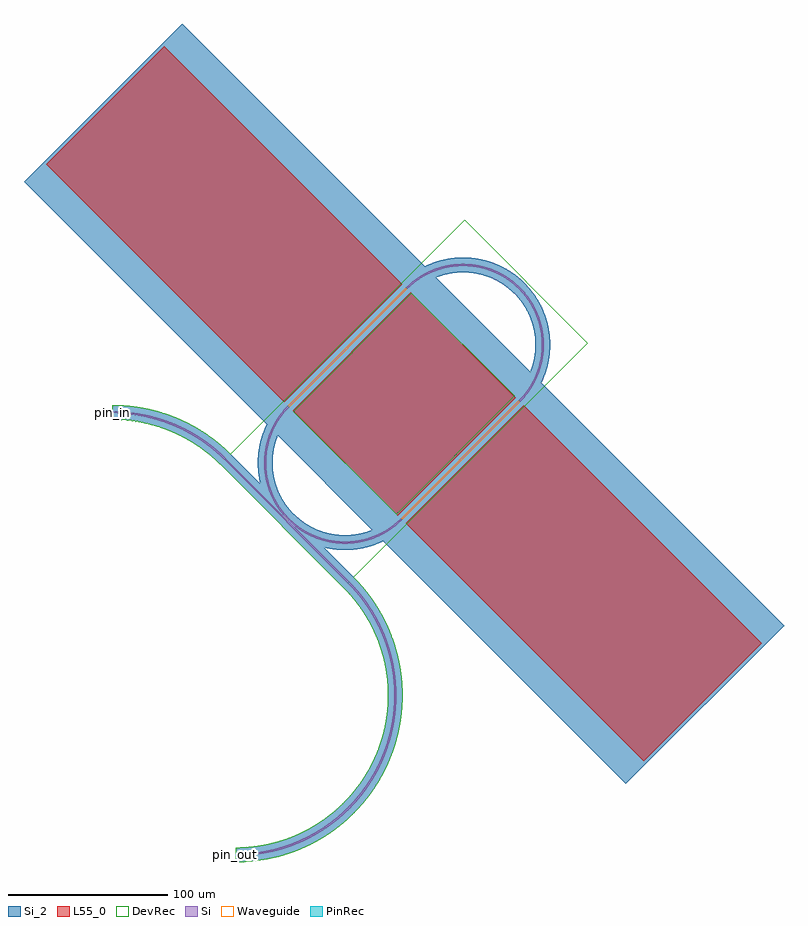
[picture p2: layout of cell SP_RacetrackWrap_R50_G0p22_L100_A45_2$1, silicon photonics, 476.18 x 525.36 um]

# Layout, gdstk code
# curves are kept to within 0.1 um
from math import pi, radians
import gdstk
lib = gdstk.Library(unit=1e-6, precision=1e-09)
def R(c, l, rs):  # rectangles x0, y0, x1, y1
    for r in rs: c.add(gdstk.rectangle(r[:2], r[2:], *l))
def P(c, l, *ps):  # polygons
    for p in ps: c.add(gdstk.Polygon(p, *l))
Si = (1, 0)
Si_2 = (1, 2)
PinRec = (1, 10)
Waveguide = (1, 99)
L55_0 = (55, 0)
DevRec = (68, 0)

bto_shetch_dc_halfring_s = lib.new_cell('BTO_ShEtch_dc_halfring_straight')
R(bto_shetch_dc_halfring_s, Si, [(-54.6,-0.6,54.6,0.6)])
P(bto_shetch_dc_halfring_s, Si, [(0,0.82),(-4.988,1.066),(-9.927,1.803),(-14.335,2.893),(-19.049,4.542),(-23.577,6.648),(-27.875,9.191),(-31.902,12.144),(-35.619,15.48),(-38.988,19.166),(-41.977,23.167),(-44.558,27.442),(-46.705,31.951),(-48.396,36.65),(-49.617,41.493),(-50.354,46.432),(-50.6,51.42),(-49.4,51.42),(-49.114,46.109),(-48.351,41.294),(-46.982,36.155),(-45.069,31.192),(-42.855,26.848),(-40.48,23.106),(-37.492,19.253),(-34.458,16.022),(-30.8,12.798),(-26.843,9.949),(-23.018,7.71),(-18.597,5.654),(-14.42,4.171),(-9.692,2.98),(-4.87,2.261),(0,2.02),(4.87,2.261),(9.692,2.98),(14.42,4.171),(18.597,5.654),(23.018,7.71),(26.843,9.949),(30.8,12.798),(34.458,16.022),(37.492,19.253),(40.48,23.106),(42.855,26.848),(45.069,31.192),(46.982,36.155),(48.351,41.294),(49.114,46.109),(49.4,51.42),(50.6,51.42),(50.354,46.432),(49.617,41.493),(48.527,37.085),(46.878,32.371),(44.772,27.843),(42.229,23.545),(39.276,19.518),(35.94,15.801),(32.254,12.432),(28.253,9.443),(23.978,6.862),(19.469,4.715),(14.77,3.024),(9.927,1.803),(4.988,1.066)])
P(bto_shetch_dc_halfring_s, Si_2, [(-54.6,-4.6),(-54.6,4.6),(-28.089,4.6),(-31.295,6.679),(-34.043,8.732),(-36.656,10.954),(-39.124,13.335),(-41.438,15.867),(-43.589,18.539),(-45.836,21.751),(-47.608,24.688),(-49.193,27.73),(-50.583,30.866),(-51.774,34.082),(-52.761,37.367),(-53.539,40.708),(-54.106,44.091),(-54.492,47.992),(-54.6,51.42),(-45.4,51.42),(-45.137,46.539),(-44.351,41.715),(-42.919,36.618),(-41.079,32.09),(-38.763,27.785),(-35.998,23.755),(-32.532,19.752),(-28.939,16.439),(-25.687,13.985),(-22.228,11.834),(-18.59,10),(-15.187,8.635),(-11.685,7.549),(-7.705,6.679),(-3.664,6.168),(0,6.02),(3.664,6.168),(7.705,6.679),(11.685,7.549),(15.187,8.635),(18.59,10),(22.228,11.834),(25.687,13.985),(28.939,16.439),(32.532,19.752),(35.998,23.755),(38.763,27.785),(41.079,32.09),(42.919,36.618),(44.351,41.715),(45.137,46.539),(45.4,51.42),(54.6,51.42),(54.492,47.992),(54.106,44.091),(53.539,40.708),(52.761,37.367),(51.774,34.082),(50.583,30.866),(49.193,27.73),(47.608,24.688),(45.836,21.751),(43.589,18.539),(41.438,15.867),(39.124,13.335),(36.656,10.954),(34.043,8.732),(31.295,6.679),(28.089,4.6),(54.6,4.6),(54.6,-4.6)])
R(bto_shetch_dc_halfring_s, DevRec, [(-54.6,-4.6,54.6,51.42)])
bto_shetch_dc_halfring_s.add(gdstk.FlexPath([(-50,51.41),(-50,51.43)], 1.2, ends="flush", simple_path=True, layer=1, datatype=10))  # PinRec
bto_shetch_dc_halfring_s.add(gdstk.FlexPath([(50,51.41),(50,51.43)], 1.2, ends="flush", simple_path=True, layer=1, datatype=10))  # PinRec
bto_shetch_dc_halfring_s.add(gdstk.FlexPath([(-54.59,0),(-54.61,0)], 1.2, ends="flush", simple_path=True, layer=1, datatype=10))  # PinRec
bto_shetch_dc_halfring_s.add(gdstk.FlexPath([(54.59,0),(54.61,0)], 1.2, ends="flush", simple_path=True, layer=1, datatype=10))  # PinRec
bto_shetch_dc_halfring_s.add(gdstk.Label('pin2', (-50,51.42), layer=1, texttype=10))
bto_shetch_dc_halfring_s.add(gdstk.Label('pin4', (50,51.42), layer=1, texttype=10))
bto_shetch_dc_halfring_s.add(gdstk.Label('pin1', (-54.6,0), layer=1, texttype=10))
bto_shetch_dc_halfring_s.add(gdstk.Label('pin3', (54.6,0), layer=1, texttype=10))

c_bto_shetch_dc_halfring_s = lib.new_cell('BTO_ShEtch_dc_halfring_straight$1')
P(c_bto_shetch_dc_halfring_s, Si, [(0,0.82),(-4.988,1.066),(-9.927,1.803),(-14.335,2.893),(-19.049,4.542),(-23.577,6.648),(-27.875,9.191),(-31.902,12.144),(-35.619,15.48),(-38.988,19.166),(-41.977,23.167),(-44.558,27.442),(-46.705,31.951),(-48.396,36.65),(-49.617,41.493),(-50.354,46.432),(-50.6,51.42),(-49.4,51.42),(-49.114,46.109),(-48.351,41.294),(-46.982,36.155),(-45.069,31.192),(-42.855,26.848),(-40.48,23.106),(-37.492,19.253),(-34.458,16.022),(-30.8,12.798),(-26.843,9.949),(-23.018,7.71),(-18.597,5.654),(-14.42,4.171),(-9.692,2.98),(-4.87,2.261),(0,2.02),(4.87,2.261),(9.692,2.98),(14.42,4.171),(18.597,5.654),(23.018,7.71),(26.843,9.949),(30.8,12.798),(34.458,16.022),(37.492,19.253),(40.48,23.106),(42.855,26.848),(45.069,31.192),(46.982,36.155),(48.351,41.294),(49.114,46.109),(49.4,51.42),(50.6,51.42),(50.354,46.432),(49.617,41.493),(48.527,37.085),(46.878,32.371),(44.772,27.843),(42.229,23.545),(39.276,19.518),(35.94,15.801),(32.254,12.432),(28.253,9.443),(23.978,6.862),(19.469,4.715),(14.77,3.024),(9.927,1.803),(4.988,1.066)])
P(c_bto_shetch_dc_halfring_s, Si_2, [(0,-3.18),(-5.382,-2.914),(-10.712,-2.119),(-15.937,-0.802),(-21.008,1.023),(-25.441,3.109),(-30.079,5.852),(-34.424,9.039),(-38.434,12.639),(-42.07,16.617),(-45.296,20.933),(-48.081,25.547),(-50.397,30.412),(-52.222,35.483),(-53.539,40.708),(-54.334,46.038),(-54.6,51.42),(-45.4,51.42),(-45.137,46.539),(-44.351,41.715),(-42.919,36.618),(-41.079,32.09),(-38.763,27.785),(-35.998,23.755),(-32.532,19.752),(-28.939,16.439),(-25.687,13.985),(-22.228,11.834),(-18.59,10),(-15.187,8.635),(-11.685,7.549),(-7.705,6.679),(-3.664,6.168),(0,6.02),(3.664,6.168),(7.705,6.679),(11.685,7.549),(15.187,8.635),(18.59,10),(22.228,11.834),(25.687,13.985),(28.939,16.439),(32.532,19.752),(35.998,23.755),(38.763,27.785),(41.079,32.09),(42.919,36.618),(44.351,41.715),(45.137,46.539),(45.4,51.42),(54.6,51.42),(54.334,46.038),(53.539,40.708),(52.222,35.483),(50.397,30.412),(48.311,25.979),(45.568,21.341),(42.381,16.996),(38.781,12.986),(34.803,9.35),(30.487,6.124),(25.873,3.339),(21.008,1.023),(15.937,-0.802),(10.712,-2.119),(5.382,-2.914)])
R(c_bto_shetch_dc_halfring_s, DevRec, [(-54.6,-4.6,54.6,51.42)])
c_bto_shetch_dc_halfring_s.add(gdstk.FlexPath([(-50,51.41),(-50,51.43)], 1.2, ends="flush", simple_path=True, layer=1, datatype=10))  # PinRec
c_bto_shetch_dc_halfring_s.add(gdstk.FlexPath([(50,51.41),(50,51.43)], 1.2, ends="flush", simple_path=True, layer=1, datatype=10))  # PinRec
c_bto_shetch_dc_halfring_s.add(gdstk.Label('pin2', (-50,51.42), layer=1, texttype=10))
c_bto_shetch_dc_halfring_s.add(gdstk.Label('pin4', (50,51.42), layer=1, texttype=10))

waveguide_1 = lib.new_cell('Waveguide$1')
R(waveguide_1, Si, [(49.4,51.42,50.6,156.04)])
R(waveguide_1, Si_2, [(45.4,51.42,54.6,156.04)])
R(waveguide_1, Waveguide, [(49.4,51.42,50.6,156.04)])
R(waveguide_1, DevRec, [(45.4,51.42,54.6,156.04)])
waveguide_1.add(gdstk.FlexPath([(50,51.43),(50,51.41)], 1.2, ends="flush", simple_path=True, layer=1, datatype=10))  # PinRec
waveguide_1.add(gdstk.FlexPath([(50,156.03),(50,156.05)], 1.2, ends="flush", simple_path=True, layer=1, datatype=10))  # PinRec
waveguide_1.add(gdstk.Label('Lumerical_INTERCONNECT_library=Design kits/EBeam', (49.76,51.42), layer=68, texttype=0))
waveguide_1.add(gdstk.Label('Component=ebeam_wg_integral_895', (50.24,51.42), layer=68, texttype=0))
waveguide_1.add(gdstk.Label('cellName=Waveguide', (50.48,51.42), layer=68, texttype=0))
waveguide_1.add(gdstk.Label('Spice_param:wg_length=0.000104620 wg_width=1.2e-06 points="[[50.0,51.42],[50.0,156.04]]" radius=0.0001', (50,51.42), layer=68, texttype=0))
waveguide_1.add(gdstk.Label('Length=104.620 (microns)', (48.56,51.42), layer=68, texttype=0))
waveguide_1.add(gdstk.Label('waveguide_type=Low-loss Bend Waveguide, w=1.2um r=100um', (49.52,51.42), layer=68, texttype=0))
waveguide_1.add(gdstk.Label('opt1', (50,51.42), layer=1, texttype=10))
waveguide_1.add(gdstk.Label('opt2', (50,156.04), layer=1, texttype=10))

waveguide = lib.new_cell('Waveguide')
R(waveguide, Si, [(-50.6,51.42,-49.4,156.04)])
R(waveguide, Si_2, [(-54.6,51.42,-45.4,156.04)])
R(waveguide, Waveguide, [(-50.6,51.42,-49.4,156.04)])
R(waveguide, DevRec, [(-54.6,51.42,-45.4,156.04)])
waveguide.add(gdstk.FlexPath([(-50,51.43),(-50,51.41)], 1.2, ends="flush", simple_path=True, layer=1, datatype=10))  # PinRec
waveguide.add(gdstk.FlexPath([(-50,156.03),(-50,156.05)], 1.2, ends="flush", simple_path=True, layer=1, datatype=10))  # PinRec
waveguide.add(gdstk.Label('Lumerical_INTERCONNECT_library=Design kits/EBeam', (-50.24,51.42), layer=68, texttype=0))
waveguide.add(gdstk.Label('Component=ebeam_wg_integral_895', (-49.76,51.42), layer=68, texttype=0))
waveguide.add(gdstk.Label('cellName=Waveguide', (-49.52,51.42), layer=68, texttype=0))
waveguide.add(gdstk.Label('Spice_param:wg_length=0.000104620 wg_width=1.2e-06 points="[[-50.0,51.42],[-50.0,156.04]]" radius=0.0001', (-50,51.42), layer=68, texttype=0))
waveguide.add(gdstk.Label('Length=104.620 (microns)', (-51.44,51.42), layer=68, texttype=0))
waveguide.add(gdstk.Label('waveguide_type=Low-loss Bend Waveguide, w=1.2um r=100um', (-50.48,51.42), layer=68, texttype=0))
waveguide.add(gdstk.Label('opt1', (-50,51.42), layer=1, texttype=10))
waveguide.add(gdstk.Label('opt2', (-50,156.04), layer=1, texttype=10))

bto_shetch_varbend_4 = lib.new_cell('BTO_ShEtch_VarBend$4')
P(bto_shetch_varbend_4, Si, [(-70.286,70.286),(-71.135,71.135),(-70.824,71.445),(-65.134,76.668),(-58.918,81.542),(-54.422,84.609),(-49.614,87.515),(-44.809,90.07),(-39.792,92.396),(-34.902,94.352),(-30.084,95.997),(-25.358,97.352),(-20.314,98.528),(-15.13,99.456),(-9.992,100.103),(-5.002,100.476),(0,100.6),(0,99.4),(-6.068,99.215),(-11.769,98.701),(-17.431,97.86),(-23.036,96.694),(-31.293,94.346),(-39.477,91.225),(-43.808,89.226),(-47.81,87.147),(-51.862,84.798),(-55.799,82.261),(-59.682,79.489),(-63.427,76.534),(-66.962,73.461)])
P(bto_shetch_varbend_4, Si_2, [(-67.458,67.458),(-73.963,73.963),(-68.624,78.943),(-62.658,83.757),(-56.893,87.775),(-50.551,91.574),(-44.537,94.645),(-38.506,97.255),(-32.323,99.481),(-26.013,101.314),(-19.869,102.696),(-13.019,103.787),(-6.568,104.394),(0,104.6),(0,95.4),(-4.91,95.274),(-9.392,94.937),(-13.936,94.377),(-18.693,93.551),(-23.241,92.526),(-27.813,91.256),(-32.316,89.76),(-36.354,88.202),(-40.619,86.321),(-44.935,84.155),(-48.849,81.945),(-52.863,79.415),(-56.88,76.589),(-60.489,73.772),(-64.144,70.617)])
P(bto_shetch_varbend_4, DevRec, [(-67.458,67.458),(-73.963,73.963),(-68.624,78.943),(-62.658,83.757),(-56.893,87.775),(-50.551,91.574),(-44.537,94.645),(-38.506,97.255),(-32.323,99.481),(-26.013,101.314),(-19.869,102.696),(-13.019,103.787),(-6.568,104.394),(0,104.6),(0,95.4),(-4.91,95.274),(-9.392,94.937),(-13.936,94.377),(-18.693,93.551),(-23.241,92.526),(-27.813,91.256),(-32.316,89.76),(-36.354,88.202),(-40.619,86.321),(-44.935,84.155),(-48.849,81.945),(-52.863,79.415),(-56.88,76.589),(-60.489,73.772),(-64.144,70.617)])
bto_shetch_varbend_4.add(gdstk.FlexPath([(-0.01,100),(0.01,100)], 1.2, ends="flush", simple_path=True, layer=1, datatype=10))  # PinRec
bto_shetch_varbend_4.add(gdstk.FlexPath([(-70.704,70.718),(-70.718,70.704)], 1.2, ends="flush", simple_path=True, layer=1, datatype=10))  # PinRec
bto_shetch_varbend_4.add(gdstk.Label('pin1', (0,100), layer=1, texttype=10))
bto_shetch_varbend_4.add(gdstk.Label('pin2', (-70.711,70.711), layer=1, texttype=10))

bto_shetch_varbend_5 = lib.new_cell('BTO_ShEtch_VarBend$5')
P(bto_shetch_varbend_5, Si, [(-0.263,-100.6),(-5.44,-100.453),(-10.516,-100.049),(-15.564,-99.389),(-20.314,-98.528),(-25.358,-97.352),(-30.084,-95.997),(-34.902,-94.352),(-39.792,-92.396),(-44.809,-90.07),(-49.614,-87.515),(-54.422,-84.609),(-58.918,-81.542),(-65.134,-76.668),(-70.824,-71.445),(-71.135,-71.135),(-70.286,-70.286),(-64.819,-75.359),(-59.195,-79.852),(-53.188,-83.973),(-46.972,-87.602),(-40.35,-90.842),(-33.344,-93.641),(-26.313,-95.854),(-19.222,-97.524),(-12.028,-98.67),(-4.769,-99.286),(2.689,-99.364),(9.872,-98.909),(17.261,-97.89),(24.468,-96.342),(31.293,-94.346),(37.959,-91.867),(44.43,-88.918),(50.897,-85.381),(57.085,-81.374),(62.622,-77.194),(67.981,-72.519),(73.227,-67.218),(78.061,-61.538),(82.163,-55.943),(85.822,-50.15),(89.034,-44.197),(91.867,-37.959),(94.346,-31.293),(96.572,-23.542),(98.163,-15.635),(99.094,-7.799),(99.4,0),(100.6,0),(100.476,-5.002),(100.103,-9.992),(99.495,-14.87),(98.633,-19.798),(97.505,-24.763),(96.179,-29.497),(94.653,-34.077),(92.909,-38.579),(90.876,-43.151),(88.701,-47.461),(86.276,-51.738),(83.695,-55.817),(80.816,-59.91),(77.793,-63.786),(74.702,-67.38),(71.011,-71.259),(67.38,-74.702),(63.786,-77.793),(59.91,-80.816),(55.817,-83.695),(51.738,-86.276),(47.229,-88.825),(42.833,-91.026),(38.417,-92.976),(33.581,-94.83),(28.993,-96.332),(24.337,-97.612),(19.282,-98.735),(14.609,-99.534),(9.467,-100.154),(5.002,-100.476)])
P(bto_shetch_varbend_5, Si_2, [(-0.274,-104.6),(-6.568,-104.394),(-13.381,-103.741),(-19.869,-102.696),(-26.013,-101.314),(-32.323,-99.481),(-38.506,-97.255),(-44.537,-94.645),(-50.551,-91.574),(-56.893,-87.775),(-62.658,-83.757),(-68.624,-78.943),(-73.963,-73.963),(-67.458,-67.458),(-62.651,-71.945),(-57.08,-76.44),(-51.329,-80.415),(-45.448,-83.879),(-39.334,-86.914),(-33.098,-89.475),(-26.696,-91.589),(-19.753,-93.333),(-12.865,-94.529),(-5.99,-95.212),(0.916,-95.396),(7.651,-95.093),(14.513,-94.29),(21.379,-92.974),(28.211,-91.134),(34.577,-88.914),(40.393,-86.427),(46.251,-83.439),(51.819,-80.1),(56.88,-76.589),(61.831,-72.651),(66.51,-68.393),(70.952,-63.773),(74.868,-59.127),(79.461,-52.794),(83.56,-46.032),(87.22,-38.651),(90.094,-31.374),(92.424,-23.644),(94.092,-15.746),(95.093,-7.651),(95.4,0),(104.6,0),(104.48,-5.019),(104.11,-10.116),(103.465,-15.371),(102.626,-20.227),(101.471,-25.394),(100.136,-30.233),(98.509,-35.174),(96.638,-40.029),(94.489,-44.867),(92.098,-49.59),(89.707,-53.795),(86.972,-58.113),(84.138,-62.145),(80.944,-66.252),(77.611,-70.127),(73.899,-74.028),(70.127,-77.611),(66.252,-80.944),(62.072,-84.192),(57.885,-87.124),(53.403,-89.941),(48.865,-92.485),(44.454,-94.684),(39.86,-96.708),(35.174,-98.509),(30.233,-100.136),(25.394,-101.471),(20.227,-102.626),(15.371,-103.465),(10.116,-104.11),(5.019,-104.48)])
P(bto_shetch_varbend_5, DevRec, [(-0.274,-104.6),(-6.568,-104.394),(-13.381,-103.741),(-19.869,-102.696),(-26.013,-101.314),(-32.323,-99.481),(-38.506,-97.255),(-44.537,-94.645),(-50.551,-91.574),(-56.893,-87.775),(-62.658,-83.757),(-68.624,-78.943),(-73.963,-73.963),(-67.458,-67.458),(-62.651,-71.945),(-57.08,-76.44),(-51.329,-80.415),(-45.448,-83.879),(-39.334,-86.914),(-33.098,-89.475),(-26.696,-91.589),(-19.753,-93.333),(-12.865,-94.529),(-5.99,-95.212),(0.916,-95.396),(7.651,-95.093),(14.513,-94.29),(21.379,-92.974),(28.211,-91.134),(34.577,-88.914),(40.393,-86.427),(46.251,-83.439),(51.819,-80.1),(56.88,-76.589),(61.831,-72.651),(66.51,-68.393),(70.952,-63.773),(74.868,-59.127),(79.461,-52.794),(83.56,-46.032),(87.22,-38.651),(90.094,-31.374),(92.424,-23.644),(94.092,-15.746),(95.093,-7.651),(95.4,0),(104.6,0),(104.48,-5.019),(104.11,-10.116),(103.465,-15.371),(102.626,-20.227),(101.471,-25.394),(100.136,-30.233),(98.509,-35.174),(96.638,-40.029),(94.489,-44.867),(92.098,-49.59),(89.707,-53.795),(86.972,-58.113),(84.138,-62.145),(80.944,-66.252),(77.611,-70.127),(73.899,-74.028),(70.127,-77.611),(66.252,-80.944),(62.072,-84.192),(57.885,-87.124),(53.403,-89.941),(48.865,-92.485),(44.454,-94.684),(39.86,-96.708),(35.174,-98.509),(30.233,-100.136),(25.394,-101.471),(20.227,-102.626),(15.371,-103.465),(10.116,-104.11),(5.019,-104.48)])
bto_shetch_varbend_5.add(gdstk.FlexPath([(100,-0.01),(100,0.01)], 1.2, ends="flush", simple_path=True, layer=1, datatype=10))  # PinRec
bto_shetch_varbend_5.add(gdstk.FlexPath([(-70.704,-70.718),(-70.718,-70.704)], 1.2, ends="flush", simple_path=True, layer=1, datatype=10))  # PinRec
bto_shetch_varbend_5.add(gdstk.Label('pin1', (100,0), layer=1, texttype=10))
bto_shetch_varbend_5.add(gdstk.Label('pin2', (-70.711,-70.711), layer=1, texttype=10))

sp_racetrackcore_r50_g0p = lib.new_cell('SP_RacetrackCore_R50_G0p22_L100_A45$1')
R(sp_racetrackcore_r50_g0p, Si_2, [(-266.61,33.629,266.61,173.83)])
R(sp_racetrackcore_r50_g0p, L55_0, [(-264.61,51.429,-53.71,156.03), (-46.31,51.429,46.91,156.03), (53.71,51.429,264.61,156.03)])
sp_racetrackcore_r50_g0p.add(gdstk.Reference(bto_shetch_dc_halfring_s, (0,0)))
sp_racetrackcore_r50_g0p.add(gdstk.Reference(c_bto_shetch_dc_halfring_s, (0,207.46), rotation=pi))
sp_racetrackcore_r50_g0p.add(gdstk.Reference(waveguide_1, (0,0)))
sp_racetrackcore_r50_g0p.add(gdstk.Reference(waveguide, (0,0)))
sp_racetrackcore_r50_g0p.add(gdstk.Reference(bto_shetch_varbend_4, (-54.6,-100)))
sp_racetrackcore_r50_g0p.add(gdstk.Reference(bto_shetch_varbend_5, (54.6,-100), rotation=pi/2))

sp_racetrackwrap_r50_g0p = lib.new_cell('SP_RacetrackWrap_R50_G0p22_L100_A45_2$1')
sp_racetrackwrap_r50_g0p.add(gdstk.FlexPath([(-109.309,67.898),(-109.329,67.898)], 0, ends="flush", simple_path=True, layer=1, datatype=10))  # PinRec
sp_racetrackwrap_r50_g0p.add(gdstk.FlexPath([(-32.093,-209.319),(-32.113,-209.319)], 0, ends="flush", simple_path=True, layer=1, datatype=10))  # PinRec
sp_racetrackwrap_r50_g0p.add(gdstk.Reference(sp_racetrackcore_r50_g0p, (0,0), rotation=radians(315)))
sp_racetrackwrap_r50_g0p.add(gdstk.Label('pin_in', (-109.319,67.898), layer=1, texttype=10))
sp_racetrackwrap_r50_g0p.add(gdstk.Label('pin_out', (-32.103,-209.319), layer=1, texttype=10))

lib.write_gds('SP_RacetrackWrap_R50_G0p22_L100_A45_2_1.gds')
